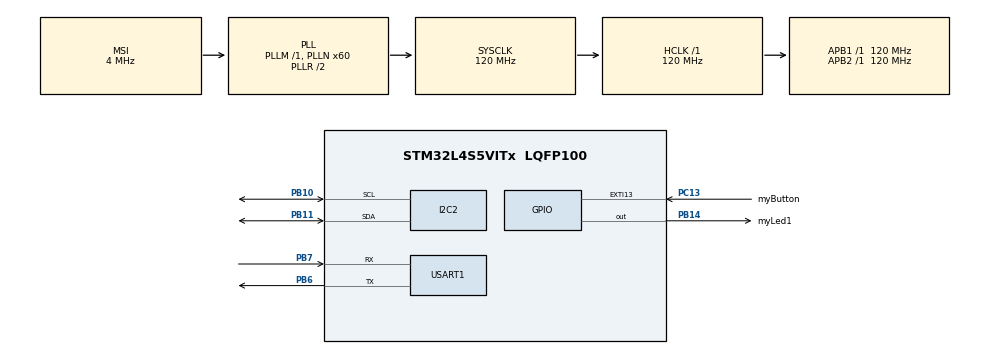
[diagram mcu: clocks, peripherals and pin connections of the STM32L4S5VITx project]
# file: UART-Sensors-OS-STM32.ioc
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FREERTOS.Tasks01=readSensor,0,256,StartDefaultTask,Default,NULL,Dynamic,NULL,NULL;buttonCheck,2,128,StartTask02,Default,NULL,Dynamic,NULL,NULL;printUART,-2,256,StartTask03,Default,NULL,Dynamic,NULL,NULL
I2C2.Timing=0x30A175AB
Mcu.Family=STM32L4
Mcu.Name=STM32L4S5VITx
Mcu.Package=LQFP100
NVIC.EXTI15_10_IRQn=true\:5\:0\:false\:false\:true\:true\:true\:true\:true
NVIC.PriorityGroup=NVIC_PRIORITYGROUP_4
NVIC.TIM6_DAC_IRQn=true\:15\:0\:false\:false\:true\:false\:false\:true\:true
NVIC.TimeBase=TIM6_DAC_IRQn
NVIC.TimeBaseIP=TIM6
PB10.Mode=I2C
PB10.Signal=I2C2_SCL
PB11.Mode=I2C
PB11.Signal=I2C2_SDA
PB14.GPIO_Label=myLed1
PB14.Signal=GPIO_Output
PB6.Mode=Asynchronous
PB6.Signal=USART1_TX
PB7.Mode=Asynchronous
PB7.Signal=USART1_RX
PC13.GPIO_Label=myButton
PC13.Signal=GPXTI13
ProjectManager.HeapSize=0x200
ProjectManager.StackSize=0x400
ProjectManager.TargetToolchain=STM32CubeIDE
RCC.ADCFreq_Value=48000000
RCC.AHBFreq_Value=120000000
RCC.APB1Freq_Value=120000000
RCC.APB1TimFreq_Value=120000000
RCC.APB2Freq_Value=120000000
RCC.APB2TimFreq_Value=120000000
RCC.CortexFreq_Value=120000000
RCC.HCLKFreq_Value=120000000
RCC.HSE_VALUE=8000000
RCC.HSI48_VALUE=48000000
RCC.HSI_VALUE=16000000
RCC.LSE_VALUE=32768
RCC.MSI_VALUE=4000000
RCC.PLLN=60
RCC.PLLSAI1N=24
RCC.SYSCLKFreq_VALUE=120000000
RCC.SYSCLKSource=RCC_SYSCLKSOURCE_PLLCLK
RCC.USBFreq_Value=48000000
RCC.VCOOutputFreq_Value=240000000
USART1.VirtualMode-Asynchronous=VM_ASYNC
VP_FREERTOS_VS_CMSIS_V1.Mode=CMSIS_V1
VP_SYS_VS_tim6.Mode=TIM6
board=B-L4S5I-IOT01A

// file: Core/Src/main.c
/* USER CODE BEGIN Header */
/**
  ******************************************************************************
  * @file           : main.c
  * @brief          : Main program body
  ******************************************************************************
  * @attention
  *
  * Copyright (c) 2024 STMicroelectronics.
  * All rights reserved.
  *
  * This software is licensed under terms that can be found in the LICENSE file
  * in the root directory of this software component.
  * If no LICENSE file comes with this software, it is provided AS-IS.
  *
  ******************************************************************************
  */
/* USER CODE END Header */
#include "main.h"
#include "cmsis_os.h"

/* USER CODE BEGIN Includes */
#include "arm_math.h"
#include <stdio.h>
/* USER CODE END Includes */

/* USER CODE BEGIN PD */
#define ARM_MATH_CM4
/* USER CODE END PD */

I2C_HandleTypeDef hi2c2;

UART_HandleTypeDef huart1;

osThreadId readSensorHandle;
osThreadId buttonCheckHandle;
osThreadId printUARTHandle;

void SystemClock_Config(void);
static void MX_GPIO_Init(void);
static void MX_I2C2_Init(void);
static void MX_USART1_UART_Init(void);
void StartDefaultTask(void const * argument);
void StartTask02(void const * argument);
void StartTask03(void const * argument);

/* USER CODE BEGIN PFP */

void readSensors();
void printOne(char* string, float data);
void printThree(char* string, int data1, int data2, int data3);
/* USER CODE END PFP */

/* USER CODE BEGIN 0 */

volatile uint8_t buttonPressed = 0;

/* Global variables for sensor measurements */

float humidity;
int16_t magneticfield[3];
int16_t acceleration[3];
float pressure;

/* mode = 0 (humidity); mode = 1 (magnetic field); mode = 2 (acceleration); mode = 3 (pressure) */
int mode;

/* USER CODE END 0 */

int main(void)
{

  /* MCU Configuration--------------------------------------------------------*/

  /* Reset of all peripherals, Initializes the Flash interface and the Systick. */
  HAL_Init();

  /* Configure the system clock */
  SystemClock_Config();

  /* Initialize all configured peripherals */
  MX_GPIO_Init();
  MX_I2C2_Init();
  MX_USART1_UART_Init();
  /* USER CODE BEGIN 2 */

  /* Initialize the sensor peripherals */

  BSP_HSENSOR_Init();
  BSP_MAGNETO_Init();
  BSP_ACCELERO_Init();
  BSP_PSENSOR_Init();

  mode = 0;

  /* USER CODE END 2 */

  /* Create the thread(s) */
  /* definition and creation of readSensor */
  osThreadDef(readSensor, StartDefaultTask, osPriorityNormal, 0, 256);
  readSensorHandle = osThreadCreate(osThread(readSensor), NULL);

  /* definition and creation of buttonCheck */
  osThreadDef(buttonCheck, StartTask02, osPriorityHigh, 0, 128);
  buttonCheckHandle = osThreadCreate(osThread(buttonCheck), NULL);

  /* definition and creation of printUART */
  osThreadDef(printUART, StartTask03, osPriorityLow, 0, 256);
  printUARTHandle = osThreadCreate(osThread(printUART), NULL);

  /* Start scheduler */
  osKernelStart();

  /* We should never get here as control is now taken by the scheduler */

  /* Infinite loop */
  while (1)
  {

  }
}

void SystemClock_Config(void)
{
  RCC_OscInitTypeDef RCC_OscInitStruct = {0};
  RCC_ClkInitTypeDef RCC_ClkInitStruct = {0};

  /** Configure the main internal regulator output voltage
  */
  if (HAL_PWREx_ControlVoltageScaling(PWR_REGULATOR_VOLTAGE_SCALE1_BOOST) != HAL_OK)
  {
    Error_Handler();
  }

  /** Initializes the RCC Oscillators according to the specified parameters
  * in the RCC_OscInitTypeDef structure.
  */
  RCC_OscInitStruct.OscillatorType = RCC_OSCILLATORTYPE_MSI;
  RCC_OscInitStruct.MSIState = RCC_MSI_ON;
  RCC_OscInitStruct.MSICalibrationValue = 0;
  RCC_OscInitStruct.MSIClockRange = RCC_MSIRANGE_6;
  RCC_OscInitStruct.PLL.PLLState = RCC_PLL_ON;
  RCC_OscInitStruct.PLL.PLLSource = RCC_PLLSOURCE_MSI;
  RCC_OscInitStruct.PLL.PLLM = 1;
  RCC_OscInitStruct.PLL.PLLN = 60;
  RCC_OscInitStruct.PLL.PLLP = RCC_PLLP_DIV2;
  RCC_OscInitStruct.PLL.PLLQ = RCC_PLLQ_DIV2;
  RCC_OscInitStruct.PLL.PLLR = RCC_PLLR_DIV2;
  if (HAL_RCC_OscConfig(&RCC_OscInitStruct) != HAL_OK)
  {
    Error_Handler();
  }

  /** Initializes the CPU, AHB and APB buses clocks
  */
  RCC_ClkInitStruct.ClockType = RCC_CLOCKTYPE_HCLK|RCC_CLOCKTYPE_SYSCLK
                              |RCC_CLOCKTYPE_PCLK1|RCC_CLOCKTYPE_PCLK2;
  RCC_ClkInitStruct.SYSCLKSource = RCC_SYSCLKSOURCE_PLLCLK;
  RCC_ClkInitStruct.AHBCLKDivider = RCC_SYSCLK_DIV1;
  RCC_ClkInitStruct.APB1CLKDivider = RCC_HCLK_DIV1;
  RCC_ClkInitStruct.APB2CLKDivider = RCC_HCLK_DIV1;

  if (HAL_RCC_ClockConfig(&RCC_ClkInitStruct, FLASH_LATENCY_5) != HAL_OK)
  {
    Error_Handler();
  }
}

static void MX_I2C2_Init(void)
{

  hi2c2.Instance = I2C2;
  hi2c2.Init.Timing = 0x30A175AB;
  hi2c2.Init.OwnAddress1 = 0;
  hi2c2.Init.AddressingMode = I2C_ADDRESSINGMODE_7BIT;
  hi2c2.Init.DualAddressMode = I2C_DUALADDRESS_DISABLE;
  hi2c2.Init.OwnAddress2 = 0;
  hi2c2.Init.OwnAddress2Masks = I2C_OA2_NOMASK;
  hi2c2.Init.GeneralCallMode = I2C_GENERALCALL_DISABLE;
  hi2c2.Init.NoStretchMode = I2C_NOSTRETCH_DISABLE;
  if (HAL_I2C_Init(&hi2c2) != HAL_OK)
  {
    Error_Handler();
  }

  /** Configure Analogue filter
  */
  if (HAL_I2CEx_ConfigAnalogFilter(&hi2c2, I2C_ANALOGFILTER_ENABLE) != HAL_OK)
  {
    Error_Handler();
  }

  /** Configure Digital filter
  */
  if (HAL_I2CEx_ConfigDigitalFilter(&hi2c2, 0) != HAL_OK)
  {
    Error_Handler();
  }

}

static void MX_USART1_UART_Init(void)
{

  huart1.Instance = USART1;
  huart1.Init.BaudRate = 115200;
  huart1.Init.WordLength = UART_WORDLENGTH_8B;
  huart1.Init.StopBits = UART_STOPBITS_1;
  huart1.Init.Parity = UART_PARITY_NONE;
  huart1.Init.Mode = UART_MODE_TX_RX;
  huart1.Init.HwFlowCtl = UART_HWCONTROL_NONE;
  huart1.Init.OverSampling = UART_OVERSAMPLING_16;
  huart1.Init.OneBitSampling = UART_ONE_BIT_SAMPLE_DISABLE;
  huart1.Init.ClockPrescaler = UART_PRESCALER_DIV1;
  huart1.AdvancedInit.AdvFeatureInit = UART_ADVFEATURE_NO_INIT;
  if (HAL_UART_Init(&huart1) != HAL_OK)
  {
    Error_Handler();
  }
  if (HAL_UARTEx_SetTxFifoThreshold(&huart1, UART_TXFIFO_THRESHOLD_1_8) != HAL_OK)
  {
    Error_Handler();
  }
  if (HAL_UARTEx_SetRxFifoThreshold(&huart1, UART_RXFIFO_THRESHOLD_1_8) != HAL_OK)
  {
    Error_Handler();
  }
  if (HAL_UARTEx_DisableFifoMode(&huart1) != HAL_OK)
  {
    Error_Handler();
  }

}

static void MX_GPIO_Init(void)
{
  GPIO_InitTypeDef GPIO_InitStruct = {0};

  /* GPIO Ports Clock Enable */
  __HAL_RCC_GPIOC_CLK_ENABLE();
  __HAL_RCC_GPIOB_CLK_ENABLE();

  /*Configure GPIO pin Output Level */
  HAL_GPIO_WritePin(myLed1_GPIO_Port, myLed1_Pin, GPIO_PIN_RESET);

  /*Configure GPIO pin : myButton_Pin */
  GPIO_InitStruct.Pin = myButton_Pin;
  GPIO_InitStruct.Mode = GPIO_MODE_IT_RISING;
  GPIO_InitStruct.Pull = GPIO_NOPULL;
  HAL_GPIO_Init(myButton_GPIO_Port, &GPIO_InitStruct);

  /*Configure GPIO pin : myLed1_Pin */
  GPIO_InitStruct.Pin = myLed1_Pin;
  GPIO_InitStruct.Mode = GPIO_MODE_OUTPUT_PP;
  GPIO_InitStruct.Pull = GPIO_NOPULL;
  GPIO_InitStruct.Speed = GPIO_SPEED_FREQ_LOW;
  HAL_GPIO_Init(myLed1_GPIO_Port, &GPIO_InitStruct);

  /* EXTI interrupt init*/
  HAL_NVIC_SetPriority(EXTI15_10_IRQn, 5, 0);
  HAL_NVIC_EnableIRQ(EXTI15_10_IRQn);

}

/* USER CODE BEGIN 4 */

void printOne(char* string, float data) {
	char output[120];
	sprintf(output, string, (int) data);
	uint16_t len = strlen(output);
	HAL_UART_Transmit(&huart1, (uint8_t *)output, len, 120);
}

void printThree(char* string, int data1, int data2, int data3) {
	char output[60];
	sprintf(output, string, data1, data2, data3);
	uint16_t len = strlen(output);
	HAL_UART_Transmit(&huart1, (uint8_t *)output, len, 120);
}

/* Read sensor and print values */
void readSensors() {
	if (mode == 0) {
		humidity = BSP_HSENSOR_ReadHumidity();
	}
	else if (mode == 1) {
		BSP_MAGNETO_GetXYZ(magneticfield);
	}
	else if (mode == 2) {
		BSP_ACCELERO_AccGetXYZ(acceleration);
	}
	else {
		pressure = BSP_PSENSOR_ReadPressure();
	}
}

/* Function to printer sensor values */
void printSensors() {
	if (mode == 0) {
			printOne("Humidity: %d\n\r", humidity);
		}
		else if (mode == 1) {
			printThree("Magnetic Field X, Y, Z Coordinate: %d, %d, %d\n\r", magneticfield[0], magneticfield[1], magneticfield[2]);
		}
		else if (mode == 2) {
			printThree("Acceleration X, Y, Z Coordinate: %d, %d, %d\n\r", acceleration[0], acceleration[1], acceleration[2]);
		}
		else {
			printOne("Pressure: %d\n\r", pressure);
	}

}

/* Read Button Using Interrupt flag */
void readButton() {
	if (buttonPressed) {
		buttonPressed = 0; // Reset the flag
		mode = (mode + 1) % 4; // Update the mode
	}
}

void vApplicationStackOverflowHook(TaskHandle_t xTask, char *pcTaskName)
{
    // Report stack overflow
    printf("Stack overflow detected in task: %s\n", pcTaskName);

    // Optionally halt the system for debugging
    while (1);
}

/* USER CODE END 4 */

void StartDefaultTask(void const * argument)
{
  /* USER CODE BEGIN 5 */
  /* Infinite loop */
  for(;;)
  {
	osDelay(100);
	readSensors();
  }
  /* USER CODE END 5 */
}

void StartTask02(void const * argument)
{
  /* USER CODE BEGIN StartTask02 */
  /* Infinite loop */
  for(;;)
  {
    osDelay(400);
    readButton();
  }
  /* USER CODE END StartTask02 */
}

void StartTask03(void const * argument)
{
  /* USER CODE BEGIN StartTask03 */
  /* Infinite loop */
  for(;;)
  {
    osDelay(200);
    printSensors();
  }
  /* USER CODE END StartTask03 */
}

void HAL_TIM_PeriodElapsedCallback(TIM_HandleTypeDef *htim)
{
  if (htim->Instance == TIM6) {
    HAL_IncTick();
  }
}

void HAL_GPIO_EXTI_Callback(uint16_t GPIO_Pin) {
    if (GPIO_Pin == myButton_Pin) {
        buttonPressed = 1; // Set the flag
    }
}

void Error_Handler(void)
{
  __disable_irq();
  while (1)
  {
  }
}
